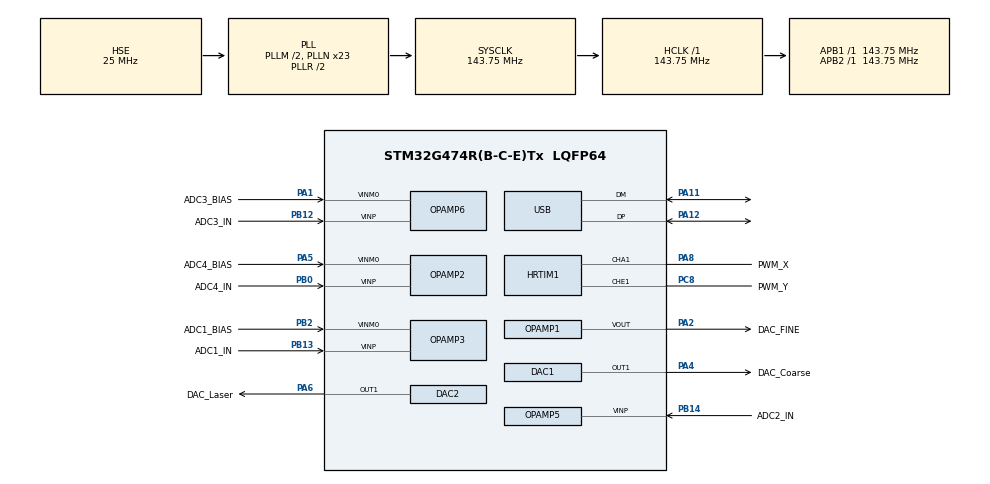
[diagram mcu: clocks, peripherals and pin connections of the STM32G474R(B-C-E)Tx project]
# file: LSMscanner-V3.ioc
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ADC2.Channel-1\#ChannelRegularConversion=ADC_CHANNEL_VOPAMP2
ADC2.NbrOfConversionFlag=1
ADC2.OffsetNumber-1\#ChannelRegularConversion=ADC_OFFSET_NONE
ADC2.OversamplingMode=DISABLE
ADC2.Rank-1\#ChannelRegularConversion=1
ADC2.SamplingTime-1\#ChannelRegularConversion=ADC_SAMPLETIME_2CYCLES_5
ADC3.Channel-0\#ChannelRegularConversion=ADC_CHANNEL_VOPAMP3_ADC3
ADC3.NbrOfConversionFlag=1
ADC3.OffsetNumber-0\#ChannelRegularConversion=ADC_OFFSET_NONE
ADC3.OversamplingMode=DISABLE
ADC3.Rank-0\#ChannelRegularConversion=1
ADC3.SamplingTime-0\#ChannelRegularConversion=ADC_SAMPLETIME_2CYCLES_5
ADC3.master=1
ADC4.Channel-0\#ChannelRegularConversion=ADC_CHANNEL_VOPAMP6
ADC4.NbrOfConversionFlag=1
ADC4.OffsetNumber-0\#ChannelRegularConversion=ADC_OFFSET_NONE
ADC4.OversamplingMode=DISABLE
ADC4.Rank-0\#ChannelRegularConversion=1
ADC4.SamplingTime-0\#ChannelRegularConversion=ADC_SAMPLETIME_2CYCLES_5
ADC5.Channel-0\#ChannelRegularConversion=ADC_CHANNEL_VOPAMP5
ADC5.NbrOfConversionFlag=1
ADC5.OffsetNumber-0\#ChannelRegularConversion=ADC_OFFSET_NONE
ADC5.OversamplingMode=DISABLE
ADC5.Rank-0\#ChannelRegularConversion=1
ADC5.SamplingTime-0\#ChannelRegularConversion=ADC_SAMPLETIME_2CYCLES_5
DAC2.DAC_HighFrequency_OUT1-DAC_OUT1=DAC_HIGH_FREQUENCY_INTERFACE_MODE_AUTOMATIC
HRTIM1.Configuration_TA=Simple
HRTIM1.Configuration_TE=Simple
HRTIM1.PWMChannel_TA1=HRTIM_OUTPUT_TA1
HRTIM1.PWMChannel_TE1=HRTIM_OUTPUT_TE1
Mcu.Family=STM32G4
Mcu.Name=STM32G474R(B-C-E)Tx
Mcu.Package=LQFP64
NVIC.PriorityGroup=NVIC_PRIORITYGROUP_4
NVIC.USB_LP_IRQn=true\:0\:0\:false\:false\:true\:false\:true\:true
OPAMP3.PgaGain=OPAMP_PGA_GAIN_2_OR_MINUS_1
PA1.GPIO_Label=ADC3_BIAS
PA1.Mode=PGA Internally connected_IO0_BIAS
PA1.Signal=OPAMP6_VINM0
PA11.Mode=Device
PA11.Signal=USB_DM
PA12.Mode=Device
PA12.Signal=USB_DP
PA13.GPIO_Label=SWDIO
PA13.Mode=Serial_Wire
PA13.Signal=SYS_JTMS-SWDIO
PA14.GPIO_Label=SWCLK
PA14.Mode=Serial_Wire
PA14.Signal=SYS_JTCK-SWCLK
PA2.GPIO_Label=DAC_FINE
PA2.Mode=Follower-DAC_OUT2-INP
PA2.Signal=OPAMP1_VOUT
PA4.GPIO_Label=DAC_Coarse
PA4.Signal=COMP_DAC11_group
PA5.GPIO_Label=ADC4_BIAS
PA5.Mode=PGA Internally connected_IO0_BIAS
PA5.Signal=OPAMP2_VINM0
PA6.GPIO_Label=DAC_Laser
PA6.Signal=COMP_DAC21_group
PA8.GPIO_Label=PWM_X
PA8.Mode=Output_TA1
PA8.Signal=HRTIM1_CHA1
PB0.GPIO_Label=ADC4_IN
PB0.Mode=PGA Internally connected_IO0_BIAS
PB0.Signal=OPAMP2_VINP
PB12.GPIO_Label=ADC3_IN
PB12.Mode=PGA Internally connected_IO0_BIAS
PB12.Signal=OPAMP6_VINP
PB13.GPIO_Label=ADC1_IN
PB13.Mode=PGA Internally connected_IO0_BIAS
PB13.Signal=OPAMP3_VINP
PB14.GPIO_Label=ADC2_IN
PB14.Mode=Follower_Internally_Connected
PB14.Signal=OPAMP5_VINP
PB2.GPIO_Label=ADC1_BIAS
PB2.Mode=PGA Internally connected_IO0_BIAS
PB2.Signal=OPAMP3_VINM0
PC8.GPIO_Label=PWM_Y
PC8.Mode=Output_TE1
PC8.Signal=HRTIM1_CHE1
PF0-OSC_IN.Mode=HSE-External-Oscillator
PF0-OSC_IN.Signal=RCC_OSC_IN
PF1-OSC_OUT.Mode=HSE-External-Oscillator
PF1-OSC_OUT.Signal=RCC_OSC_OUT
ProjectManager.HeapSize=0x200
ProjectManager.StackSize=0x400
ProjectManager.TargetToolchain=STM32CubeIDE
RCC.ADC12Freq_Value=143750000
RCC.ADC345Freq_Value=143750000
RCC.AHBFreq_Value=143750000
RCC.APB1Freq_Value=143750000
RCC.APB1TimFreq_Value=143750000
RCC.APB2Freq_Value=143750000
RCC.APB2TimFreq_Value=143750000
RCC.CortexFreq_Value=143750000
RCC.EXTERNAL_CLOCK_VALUE=12288000
RCC.HCLKFreq_Value=143750000
RCC.HSE_VALUE=25000000
RCC.HSI48_VALUE=48000000
RCC.HSI_VALUE=16000000
RCC.LSE_VALUE=32768
RCC.PLLM=RCC_PLLM_DIV2
RCC.PLLN=23
RCC.PLLQ=RCC_PLLQ_DIV6
RCC.PLLSourceVirtual=RCC_PLLSOURCE_HSE
RCC.SYSCLKFreq_VALUE=143750000
RCC.SYSCLKSource=RCC_SYSCLKSOURCE_PLLCLK
RCC.USBFreq_Value=47916666.666666664
RCC.VCOOutputFreq_Value=287500000
SH.COMP_DAC11_group.0=DAC1_OUT1,DAC_OUT1
SH.COMP_DAC21_group.0=DAC2_OUT1,DAC_OUT1
TIM4.Prescaler=143.75-1
USB_DEVICE.CLASS_NAME_FS=CDC
USB_DEVICE.VirtualMode=Cdc
USB_DEVICE.VirtualModeFS=Cdc_FS
VP_ADC2_OPAMP_INTERNAL2.Mode=IN-OPAMP2
VP_ADC3_OPAMP_INTERNAL3.Mode=IN-OPAMP3
VP_ADC4_OPAMP_INTERNAL6.Mode=IN-OPAMP6
VP_ADC5_OPAMP_INTERNAL5.Mode=IN-OPAMP5
VP_DAC3_VS_DACI1.Mode=DAC_OUT1_Int
VP_HRTIM1_VS_hrtimMasterTimerNoOutput.Mode=MasterTimer
VP_SYS_V_VREFBUF.Mode=ExternalMode
VP_TIM4_VS_ClockSourceINT.Mode=Internal
VP_USB_DEVICE_VS_USB_DEVICE_CDC_FS.Mode=CDC_FS
board=custom

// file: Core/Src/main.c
/* USER CODE BEGIN Header */
/**
  ******************************************************************************
  * @file           : main.c
  * @brief          : Main program body
  ******************************************************************************
  * @attention
  *
  * Copyright (c) 2023 STMicroelectronics.
  * All rights reserved.
  *
  * This software is licensed under terms that can be found in the LICENSE file
  * in the root directory of this software component.
  * If no LICENSE file comes with this software, it is provided AS-IS.
  *
  ******************************************************************************
  */
/* USER CODE END Header */
#include "main.h"
#include "usb_device.h"

/* USER CODE BEGIN Includes */
#include <string.h>
#include <stdbool.h>
#include <math.h>
#include <ctype.h>
#include "usbd_cdc_if.h"
#include<stdio.h>
#include<stdlib.h>
/* USER CODE END Includes */

ADC_HandleTypeDef hadc2;
ADC_HandleTypeDef hadc3;
ADC_HandleTypeDef hadc4;
ADC_HandleTypeDef hadc5;

DAC_HandleTypeDef hdac1;
DAC_HandleTypeDef hdac2;
DAC_HandleTypeDef hdac3;

HRTIM_HandleTypeDef hhrtim1;

OPAMP_HandleTypeDef hopamp1;
OPAMP_HandleTypeDef hopamp2;
OPAMP_HandleTypeDef hopamp3;
OPAMP_HandleTypeDef hopamp5;
OPAMP_HandleTypeDef hopamp6;

TIM_HandleTypeDef htim4;

/* USER CODE BEGIN PV */
//1 -> int between 1 and 65535
uint16_t xRes = 200;
//2 -> int between 1 and 65535
uint16_t yRes = 200;
//3 -> int between 1 and 65535
uint16_t skipSteps = 1;

//4 -> int between 0 and 65535
uint16_t xOffset = 32767;
//5 -> int between 0 and 65535
uint16_t yOffset = 32767;
//8 -> int between 1 and 20
uint8_t adcAvg = 8;

//7 -> int between 0 and 2500
uint16_t laserPower = 2100;

int pgaGain = OPAMP_PGA_GAIN_2_OR_MINUS_1;

int scanOffsetX = 0;
int scanOffsetY = 0;

int lastADC5Val = 0;

/* USER CODE END PV */

void SystemClock_Config(void);
static void MX_GPIO_Init(void);
static void MX_ADC3_Init(void);
static void MX_ADC5_Init(void);
static void MX_DAC1_Init(void);
static void MX_DAC2_Init(void);
static void MX_DAC3_Init(void);
static void MX_HRTIM1_Init(void);
static void MX_OPAMP1_Init(void);
static void MX_OPAMP2_Init(void);
static void MX_OPAMP3_Init(void);
static void MX_OPAMP5_Init(void);
static void MX_OPAMP6_Init(void);
static void MX_ADC2_Init(void);
static void MX_ADC4_Init(void);
static void MX_TIM4_Init(void);

/* USER CODE BEGIN 0 */

//microsecond delay (not used)
void delay(uint32_t us) {
	//from AN4776 page 10, 1.3.1
	if (us > 65535) { //a check to see if the scans asks for bad delays
		printf("A delay of %d is too long!", (int)us);
		us = 65535; //set to max
	}
	TIM4->ARR = us;
	TIM4->CNT = 0;
	TIM4->CR1 |= TIM_CR1_CEN; //enable timer
	while (TIM4->CNT < us)
		; //wait
	TIM4->CR1 &= ~TIM_CR1_CEN; //disable timer
}

//USB cdc transmit
//https://github.com/alexeykosinov/Redirect-printf-to-USB-VCP-on-STM32H7-MCU
int _write(int file, char *ptr, int len) {
	static uint8_t rc = USBD_OK;

	do {
		rc = CDC_Transmit_FS((unsigned char*) ptr, len);
	} while (USBD_BUSY == rc);

	if (USBD_FAIL == rc) {
		/// NOTE: Should never reach here.
		/// TODO: Handle this error.
		return 0;
	}
	return len;
}

//USB cdc receive
uint8_t buffer[64];
bool newReceived;

void adcStart() {
	HAL_ADC_Start(&hadc2); //OUT8
	HAL_ADC_Start(&hadc3); //OUT1
	HAL_ADC_Start(&hadc4); //OUT7
	HAL_ADC_Start(&hadc5); //OUT2 (HAS NOISE ISSUE)
	delay(1000);
}

void adcStop() {
	HAL_ADC_Stop(&hadc2);
	HAL_ADC_Stop(&hadc3);
	HAL_ADC_Stop(&hadc4);
	HAL_ADC_Stop(&hadc5);
	delay(1000);
}

//ADC
int PDICRead(uint8_t type) {
	adcStart();
//	int currentADC5Val = 0;
	int ADCValue = 0;
	if (type == 1) { //SUM
//		if (HAL_ADC_PollForConversion(&hadc5, 1000000) == HAL_OK) {
//			ADCValue = HAL_ADC_GetValue(&hadc5)*4;
////			if (currentADC5Val < lastADC5Val+100 && currentADC5Val > lastADC5Val-100) {
////				ADCValue = currentADC5Val*4;
////				lastADC5Val = currentADC5Val;
////			} else {
////				ADCValue = lastADC5Val*4;
////			}
//		} else {
//			ADCValue = 0;
//		}
		if (HAL_ADC_PollForConversion(&hadc2, 1000000) == HAL_OK) {
			ADCValue += HAL_ADC_GetValue(&hadc2); // *2 to make up for adc5
		}
		if (HAL_ADC_PollForConversion(&hadc3, 1000000) == HAL_OK) {
			ADCValue += HAL_ADC_GetValue(&hadc3);
		}
		if (HAL_ADC_PollForConversion(&hadc4, 1000000) == HAL_OK) {
			ADCValue += HAL_ADC_GetValue(&hadc4);
		}
		if (HAL_ADC_PollForConversion(&hadc5, 1000000) == HAL_OK) {
			ADCValue += HAL_ADC_GetValue(&hadc5);
		}
	} else if (type == 2) { //FES
		int diag1 = 0;
		int diag2 = 0;
		if (HAL_ADC_PollForConversion(&hadc3, 1000000) == HAL_OK) {
			diag1 += HAL_ADC_GetValue(&hadc3);
		}
		if (HAL_ADC_PollForConversion(&hadc4, 1000000) == HAL_OK) {
			diag1 += HAL_ADC_GetValue(&hadc4);
		}
		if (HAL_ADC_PollForConversion(&hadc2, 1000000) == HAL_OK) {
			diag2 += HAL_ADC_GetValue(&hadc2); // *2 to make up for adc5
		}
		if (HAL_ADC_PollForConversion(&hadc5, 1000000) == HAL_OK) {
			diag2 += HAL_ADC_GetValue(&hadc5);
		}
		ADCValue = diag1-diag2; //might be the reverse
	}
	adcStop();
	return ADCValue;
}

//parse usb serial input
uint16_t getNum() {
	uint16_t num = 0;
	for (int i = 1; i <= 4; i++) {
		if (isdigit(buffer[i])) { //only works if buffer isn't initialized with all zeros - shouldn't be
			num *= 10;
			num += buffer[i] - '0';
		}
	}
	return num;
}

//fine focus
void fineFocus() {
	int currentAdc;
	int16_t topAdc = -20000;
	int16_t bottomAdc = 20000;
	int16_t topDac = 0;
	int16_t bottomDac = 0;
	int16_t middleDac;
	int8_t precision = 2;

	//set offsets
	//htim3.Instance->CCR1 = xOffset;
	__HAL_HRTIM_SETCOMPARE(&hhrtim1, HRTIM_TIMERINDEX_TIMER_A, HRTIM_COMPAREUNIT_1, xOffset);
	HAL_HRTIM_SoftwareUpdate(&hhrtim1, HRTIM_TIMERUPDATE_A);
	//htim4.Instance->CCR1 = yOffset;
	__HAL_HRTIM_SETCOMPARE(&hhrtim1, HRTIM_TIMERINDEX_TIMER_E, HRTIM_COMPAREUNIT_1, yOffset);
	HAL_HRTIM_SoftwareUpdate(&hhrtim1, HRTIM_TIMERUPDATE_E);

	//set laser power
	DAC2->DHR12R1 = laserPower;

	//reset fine focus
	DAC3->DHR12R1 = 0;

	//delay to settle
	HAL_Delay(100);

	for (int i = 0; i < 4096; i += precision) {
		DAC3->DHR12R1 = i;
		//delay_us(1000);
		delay(3000);
		currentAdc = PDICRead(2);
		if (currentAdc < bottomAdc) {
			bottomAdc = currentAdc;
			bottomDac = i;
			//HAL_Delay(40);
		}

		delay(3000);
		printf("%d,%d\r\n", i, currentAdc); //print to see curve
	}
	printf("Done\r\n");

	HAL_Delay(100);

	for (int i = 0; i < 4096; i += precision) {
		DAC3->DHR12R1 = i;
		//delay_us(1000);
		delay(3000);
		currentAdc = PDICRead(2);
		if (currentAdc > topAdc && i > bottomDac) {
			topAdc = currentAdc;
			topDac = i;
			//HAL_Delay(40);
		}

		delay(3000);
		printf("%d,%d\r\n", i, currentAdc); //print to see curve
	}
	printf("Done\r\n");

	middleDac = ((topDac - bottomDac) / 2) + bottomDac;

	//temp offset
	middleDac += 40;

	for (int i = 0; i <= middleDac; i += precision) {
		DAC3->DHR12R1 = i;
		if (i <= 2) {
			HAL_Delay(200);
		} else { //don't need large timer if not resetting axis
			delay(2000);
		}
		currentAdc = PDICRead(2);
		printf("%d,%d\r\n", i, currentAdc);
		delay(1000);
	}

	HAL_Delay(300);
	printf("Done\r\n");
}

//coarse focus
void coarseFocus() {
	int sum = 0;
	uint16_t maxDac = 0;
	uint8_t precision = 1;
	uint16_t maxSum = 0;

	//set offsets
	//htim3.Instance->CCR1 = xOffset;
	__HAL_HRTIM_SETCOMPARE(&hhrtim1, HRTIM_TIMERINDEX_TIMER_A, HRTIM_COMPAREUNIT_1, xOffset);
	HAL_HRTIM_SoftwareUpdate(&hhrtim1, HRTIM_TIMERUPDATE_A);
	//htim4.Instance->CCR1 = yOffset;
	__HAL_HRTIM_SETCOMPARE(&hhrtim1, HRTIM_TIMERINDEX_TIMER_E, HRTIM_COMPAREUNIT_1, yOffset);
	HAL_HRTIM_SoftwareUpdate(&hhrtim1, HRTIM_TIMERUPDATE_E);

	//set laser power
	DAC2->DHR12R1 = laserPower;

	//set fine focus to close-to-center to avoid center instability and coarse to start
	DAC3->DHR12R1 = 2300;

	//reset coarse focus
	DAC1->DHR12R1 = 0;

	//delay to settle
	HAL_Delay(100);

	for (int i = 0; i < 4096; i += precision) {
		DAC1->DHR12R1 = i;
		delay(1000);
		sum = PDICRead(1);
		if (sum > maxSum) { //values get larger as light increases
			maxSum = sum;
			maxDac = i;
		}
		delay(1000);
		printf("%d,%d\r\n", i, sum); //print to see curve
	}
	printf("Done\r\n");

	// wind back to avoid dislodging sample
	for (int i = 4095; i >= 0; i -= precision) {
		DAC1->DHR12R1 = i;
		delay(200);
	}

	delay(2000);
	for (int i = 0; i <= maxDac; i += precision) {
		DAC1->DHR12R1 = i;
		delay(1000);
		printf("%d,%d\r\n", i, PDICRead(1));
		delay(1000);
	}

	HAL_Delay(300);
	printf("Done\r\n");
}

void fastScan() {

	int raw;

	//set offsets
	__HAL_HRTIM_SETCOMPARE(&hhrtim1, HRTIM_TIMERINDEX_TIMER_A, HRTIM_COMPAREUNIT_1, xOffset);
	HAL_HRTIM_SoftwareUpdate(&hhrtim1, HRTIM_TIMERUPDATE_A);
	__HAL_HRTIM_SETCOMPARE(&hhrtim1, HRTIM_TIMERINDEX_TIMER_E, HRTIM_COMPAREUNIT_1, yOffset);
	HAL_HRTIM_SoftwareUpdate(&hhrtim1, HRTIM_TIMERUPDATE_E);

	//set laser power
	DAC2->DHR12R1 = laserPower;

	for (int y = 0; y < yRes; y++) {

		if (y == 0) {
			__HAL_HRTIM_SETCOMPARE(&hhrtim1, HRTIM_TIMERINDEX_TIMER_E, HRTIM_COMPAREUNIT_1, (scanOffsetY + (yRes*skipSteps)/2.55));
			HAL_HRTIM_SoftwareUpdate(&hhrtim1, HRTIM_TIMERUPDATE_E);
			delay(8197); //half of 61hz, resonance frequency of SF-HD65
		}

		__HAL_HRTIM_SETCOMPARE(&hhrtim1, HRTIM_TIMERINDEX_TIMER_E, HRTIM_COMPAREUNIT_1, (scanOffsetY + (y * skipSteps)));
		HAL_HRTIM_SoftwareUpdate(&hhrtim1, HRTIM_TIMERUPDATE_E);

		for (int x = 0; x < xRes; x++) {
			raw = 0;

			//ringing compensation
			if (x == 0) {
				__HAL_HRTIM_SETCOMPARE(&hhrtim1, HRTIM_TIMERINDEX_TIMER_A, HRTIM_COMPAREUNIT_1, (scanOffsetX + (xRes*skipSteps)/2.35));
				HAL_HRTIM_SoftwareUpdate(&hhrtim1, HRTIM_TIMERUPDATE_A);
				delay(4095); //half of 61hz, resonance frequency of SF-HD65 - normally 8197
			}

			__HAL_HRTIM_SETCOMPARE(&hhrtim1, HRTIM_TIMERINDEX_TIMER_A, HRTIM_COMPAREUNIT_1, (scanOffsetX + (x * skipSteps)));
			HAL_HRTIM_SoftwareUpdate(&hhrtim1, HRTIM_TIMERUPDATE_A);

			if (x==1) {
				delay(4095);
			}

			raw = PDICRead(1);

			if (x + 1 == xRes) {
				printf("%d\r\n", raw);
			} else {
				printf("%d,", raw);
			}
		}

		//add delay later
	}
	printf("%d\r\n", 0);
}

/* USER CODE END 0 */

int main(void)
{

  /* MCU Configuration--------------------------------------------------------*/

  /* Reset of all peripherals, Initializes the Flash interface and the Systick. */
  HAL_Init();

  /* Configure the system clock */
  SystemClock_Config();

  /* Initialize all configured peripherals */
  MX_GPIO_Init();
  MX_ADC3_Init();
  MX_ADC5_Init();
  MX_DAC1_Init();
  MX_DAC2_Init();
  MX_DAC3_Init();
  MX_HRTIM1_Init();
  MX_OPAMP1_Init();
  MX_OPAMP2_Init();
  MX_OPAMP3_Init();
  MX_OPAMP5_Init();
  MX_OPAMP6_Init();
  MX_USB_Device_Init();
  MX_ADC2_Init();
  MX_ADC4_Init();
  MX_TIM4_Init();
  /* USER CODE BEGIN 2 */
  //DAC SETUP
  HAL_DAC_Start(&hdac1, DAC_CHANNEL_1);
  HAL_DAC_Start(&hdac2, DAC_CHANNEL_1);
  HAL_DAC_Start(&hdac3, DAC_CHANNEL_1);

  //ADC SETUP
  HAL_ADCEx_Calibration_Start(&hadc2, ADC_SINGLE_ENDED);
  HAL_ADCEx_Calibration_Start(&hadc3, ADC_SINGLE_ENDED);
  HAL_ADCEx_Calibration_Start(&hadc4, ADC_SINGLE_ENDED);
  HAL_ADCEx_Calibration_Start(&hadc5, ADC_SINGLE_ENDED);

  //OP-AMP SETUP
  HAL_OPAMP_Start(&hopamp1);
  HAL_OPAMP_Start(&hopamp2);
  HAL_OPAMP_Start(&hopamp3);
  HAL_OPAMP_Start(&hopamp5);
  HAL_OPAMP_Start(&hopamp6);

  //DELAY TIMER SETUP
  HAL_TIM_Base_Start(&htim4);

  //HRTIM SETUP
  HAL_HRTIM_SimplePWMStart(&hhrtim1, HRTIM_TIMERINDEX_TIMER_A, HRTIM_OUTPUT_TA1);
  HAL_HRTIM_SimplePWMStart(&hhrtim1, HRTIM_TIMERINDEX_TIMER_E, HRTIM_OUTPUT_TE1);

  /* USER CODE END 2 */

  /* Infinite loop */
  while (1)
    {

    /* USER CODE BEGIN 3 */
	    DAC2->DHR12R1 = 0;

		uint8_t adcGain = 1; //not sure I need this

		//buffer[0]
		uint8_t start;

		//value of following data after buffer[0]
		uint16_t num = 0;

		if (newReceived) {
			if (buffer[0] == '0') {
				start = 0;
			} else {
				start = buffer[0] - '0';
			}
			num = getNum();
			switch (start) {
			case 0:
				scanOffsetX = xOffset - (xRes * skipSteps / 2); // set focus to center of scanned image (make sure > 0)
				scanOffsetY = yOffset - (yRes * skipSteps / 2);
				if (num == 1) {
					fastScan();
				}
				break;
			case 1:
				if (num < 65536 && num > 0) {
					xRes = num;
				}
				break;
			case 2:
				if (num < 65536 && num > 0) {
					yRes = num;
				}
				break;
			case 3:
				if (num < 65536 && num > 0) {
					skipSteps = num;
				}
				break;
			case 4:
				if (num < 65536) {
					xOffset = num;
				}
				break;
			case 5:
				if (num < 65536) {
					yOffset = num;
				}
				break;
			case 6:
				if (num <= 5) {
					adcGain = num;
					HAL_OPAMP_Stop(&hopamp2);
					HAL_OPAMP_Stop(&hopamp3);
					HAL_OPAMP_Stop(&hopamp5);
					HAL_OPAMP_Stop(&hopamp6);
					switch (adcGain) {
					case 0:
						hopamp2.Init.PgaGain = OPAMP_PGA_GAIN_2_OR_MINUS_1;
						hopamp3.Init.PgaGain = OPAMP_PGA_GAIN_2_OR_MINUS_1;
						hopamp5.Init.PgaGain = OPAMP_PGA_GAIN_2_OR_MINUS_1;
						hopamp6.Init.PgaGain = OPAMP_PGA_GAIN_2_OR_MINUS_1;
						break;
					case 1:
						hopamp2.Init.PgaGain = OPAMP_PGA_GAIN_4_OR_MINUS_3;
						hopamp3.Init.PgaGain = OPAMP_PGA_GAIN_4_OR_MINUS_3;
						hopamp5.Init.PgaGain = OPAMP_PGA_GAIN_4_OR_MINUS_3;
						hopamp6.Init.PgaGain = OPAMP_PGA_GAIN_4_OR_MINUS_3;
						break;
					case 2:
						hopamp2.Init.PgaGain = OPAMP_PGA_GAIN_8_OR_MINUS_7;
						hopamp3.Init.PgaGain = OPAMP_PGA_GAIN_8_OR_MINUS_7;
						hopamp5.Init.PgaGain = OPAMP_PGA_GAIN_8_OR_MINUS_7;
						hopamp6.Init.PgaGain = OPAMP_PGA_GAIN_8_OR_MINUS_7;
						break;
					case 3:
						hopamp2.Init.PgaGain = OPAMP_PGA_GAIN_16_OR_MINUS_15;
						hopamp3.Init.PgaGain = OPAMP_PGA_GAIN_16_OR_MINUS_15;
						hopamp5.Init.PgaGain = OPAMP_PGA_GAIN_16_OR_MINUS_15;
						hopamp6.Init.PgaGain = OPAMP_PGA_GAIN_16_OR_MINUS_15;
						break;
					case 4:
						hopamp2.Init.PgaGain = OPAMP_PGA_GAIN_32_OR_MINUS_31;
						hopamp3.Init.PgaGain = OPAMP_PGA_GAIN_32_OR_MINUS_31;
						hopamp5.Init.PgaGain = OPAMP_PGA_GAIN_32_OR_MINUS_31;
						hopamp6.Init.PgaGain = OPAMP_PGA_GAIN_32_OR_MINUS_31;
						break;
					case 5:
						hopamp2.Init.PgaGain = OPAMP_PGA_GAIN_64_OR_MINUS_63;
						hopamp3.Init.PgaGain = OPAMP_PGA_GAIN_64_OR_MINUS_63;
						hopamp5.Init.PgaGain = OPAMP_PGA_GAIN_64_OR_MINUS_63;
						hopamp6.Init.PgaGain = OPAMP_PGA_GAIN_64_OR_MINUS_63;
						break;
					}
					HAL_Delay(2);
					if (HAL_OPAMP_Init(&hopamp2) != HAL_OK)
					{
						Error_Handler();
					}
					if (HAL_OPAMP_Init(&hopamp3) != HAL_OK)
					{
						Error_Handler();
					}
					if (HAL_OPAMP_Init(&hopamp5) != HAL_OK)
					{
						Error_Handler();
					}
					if (HAL_OPAMP_Init(&hopamp6) != HAL_OK)
					{
						Error_Handler();
					}
					HAL_Delay(2);
					HAL_OPAMP_Start(&hopamp2);
					HAL_OPAMP_Start(&hopamp3);
					HAL_OPAMP_Start(&hopamp5);
					HAL_OPAMP_Start(&hopamp6);
				}
				break;
			case 7:
				if (num <= 3000) {
					laserPower = num;
				}
				break;
			case 8:
				if (num <= 20 && num != 0) {
					adcAvg = num;
				}
				break;
			case 9:
				if (num == 1) {
					fineFocus();
				} else if (num == 2) {
					coarseFocus();
				} else {
					printf("Bad input\r\n");
				}
				break;
			}

			newReceived = false;
		}
		HAL_Delay(10); //10ms polling delay
    }
  /* USER CODE END 3 */
}

void SystemClock_Config(void)
{
  RCC_OscInitTypeDef RCC_OscInitStruct = {0};
  RCC_ClkInitTypeDef RCC_ClkInitStruct = {0};

  /** Configure the main internal regulator output voltage
  */
  HAL_PWREx_ControlVoltageScaling(PWR_REGULATOR_VOLTAGE_SCALE1);

  /** Initializes the RCC Oscillators according to the specified parameters
  * in the RCC_OscInitTypeDef structure.
  */
  RCC_OscInitStruct.OscillatorType = RCC_OSCILLATORTYPE_HSE;
  RCC_OscInitStruct.HSEState = RCC_HSE_ON;
  RCC_OscInitStruct.PLL.PLLState = RCC_PLL_ON;
  RCC_OscInitStruct.PLL.PLLSource = RCC_PLLSOURCE_HSE;
  RCC_OscInitStruct.PLL.PLLM = RCC_PLLM_DIV2;
  RCC_OscInitStruct.PLL.PLLN = 23;
  RCC_OscInitStruct.PLL.PLLP = RCC_PLLP_DIV2;
  RCC_OscInitStruct.PLL.PLLQ = RCC_PLLQ_DIV6;
  RCC_OscInitStruct.PLL.PLLR = RCC_PLLR_DIV2;
  if (HAL_RCC_OscConfig(&RCC_OscInitStruct) != HAL_OK)
  {
    Error_Handler();
  }

  /** Initializes the CPU, AHB and APB buses clocks
  */
  RCC_ClkInitStruct.ClockType = RCC_CLOCKTYPE_HCLK|RCC_CLOCKTYPE_SYSCLK
                              |RCC_CLOCKTYPE_PCLK1|RCC_CLOCKTYPE_PCLK2;
  RCC_ClkInitStruct.SYSCLKSource = RCC_SYSCLKSOURCE_PLLCLK;
  RCC_ClkInitStruct.AHBCLKDivider = RCC_SYSCLK_DIV1;
  RCC_ClkInitStruct.APB1CLKDivider = RCC_HCLK_DIV1;
  RCC_ClkInitStruct.APB2CLKDivider = RCC_HCLK_DIV1;

  if (HAL_RCC_ClockConfig(&RCC_ClkInitStruct, FLASH_LATENCY_4) != HAL_OK)
  {
    Error_Handler();
  }
}

static void MX_ADC2_Init(void)
{

  ADC_ChannelConfTypeDef sConfig = {0};

  /** Common config
  */
  hadc2.Instance = ADC2;
  hadc2.Init.ClockPrescaler = ADC_CLOCK_SYNC_PCLK_DIV4;
  hadc2.Init.Resolution = ADC_RESOLUTION_12B;
  hadc2.Init.DataAlign = ADC_DATAALIGN_RIGHT;
  hadc2.Init.GainCompensation = 0;
  hadc2.Init.ScanConvMode = ADC_SCAN_DISABLE;
  hadc2.Init.EOCSelection = ADC_EOC_SINGLE_CONV;
  hadc2.Init.LowPowerAutoWait = DISABLE;
  hadc2.Init.ContinuousConvMode = DISABLE;
  hadc2.Init.NbrOfConversion = 1;
  hadc2.Init.DiscontinuousConvMode = DISABLE;
  hadc2.Init.ExternalTrigConv = ADC_SOFTWARE_START;
  hadc2.Init.ExternalTrigConvEdge = ADC_EXTERNALTRIGCONVEDGE_NONE;
  hadc2.Init.DMAContinuousRequests = DISABLE;
  hadc2.Init.Overrun = ADC_OVR_DATA_PRESERVED;
  hadc2.Init.OversamplingMode = DISABLE;
  if (HAL_ADC_Init(&hadc2) != HAL_OK)
  {
    Error_Handler();
  }

  /** Configure Regular Channel
  */
  sConfig.Channel = ADC_CHANNEL_VOPAMP2;
  sConfig.Rank = ADC_REGULAR_RANK_1;
  sConfig.SamplingTime = ADC_SAMPLETIME_2CYCLES_5;
  sConfig.SingleDiff = ADC_SINGLE_ENDED;
  sConfig.OffsetNumber = ADC_OFFSET_NONE;
  sConfig.Offset = 0;
  if (HAL_ADC_ConfigChannel(&hadc2, &sConfig) != HAL_OK)
  {
    Error_Handler();
  }

}

static void MX_ADC3_Init(void)
{

  ADC_MultiModeTypeDef multimode = {0};
  ADC_ChannelConfTypeDef sConfig = {0};

  /** Common config
  */
  hadc3.Instance = ADC3;
  hadc3.Init.ClockPrescaler = ADC_CLOCK_SYNC_PCLK_DIV4;
  hadc3.Init.Resolution = ADC_RESOLUTION_12B;
  hadc3.Init.DataAlign = ADC_DATAALIGN_RIGHT;
  hadc3.Init.GainCompensation = 0;
  hadc3.Init.ScanConvMode = ADC_SCAN_DISABLE;
  hadc3.Init.EOCSelection = ADC_EOC_SINGLE_CONV;
  hadc3.Init.LowPowerAutoWait = DISABLE;
  hadc3.Init.ContinuousConvMode = DISABLE;
  hadc3.Init.NbrOfConversion = 1;
  hadc3.Init.DiscontinuousConvMode = DISABLE;
  hadc3.Init.ExternalTrigConv = ADC_SOFTWARE_START;
  hadc3.Init.ExternalTrigConvEdge = ADC_EXTERNALTRIGCONVEDGE_NONE;
  hadc3.Init.DMAContinuousRequests = DISABLE;
  hadc3.Init.Overrun = ADC_OVR_DATA_PRESERVED;
  hadc3.Init.OversamplingMode = DISABLE;
  if (HAL_ADC_Init(&hadc3) != HAL_OK)
  {
    Error_Handler();
  }

  /** Configure the ADC multi-mode
  */
  multimode.Mode = ADC_MODE_INDEPENDENT;
  if (HAL_ADCEx_MultiModeConfigChannel(&hadc3, &multimode) != HAL_OK)
  {
    Error_Handler();
  }

  /** Configure Regular Channel
  */
  sConfig.Channel = ADC_CHANNEL_VOPAMP3_ADC3;
  sConfig.Rank = ADC_REGULAR_RANK_1;
  sConfig.SamplingTime = ADC_SAMPLETIME_2CYCLES_5;
  sConfig.SingleDiff = ADC_SINGLE_ENDED;
  sConfig.OffsetNumber = ADC_OFFSET_NONE;
  sConfig.Offset = 0;
  if (HAL_ADC_ConfigChannel(&hadc3, &sConfig) != HAL_OK)
  {
    Error_Handler();
  }

}

static void MX_ADC4_Init(void)
{

  ADC_ChannelConfTypeDef sConfig = {0};

  /** Common config
  */
  hadc4.Instance = ADC4;
  hadc4.Init.ClockPrescaler = ADC_CLOCK_SYNC_PCLK_DIV4;
  hadc4.Init.Resolution = ADC_RESOLUTION_12B;
  hadc4.Init.DataAlign = ADC_DATAALIGN_RIGHT;
  hadc4.Init.GainCompensation = 0;
  hadc4.Init.ScanConvMode = ADC_SCAN_DISABLE;
  hadc4.Init.EOCSelection = ADC_EOC_SINGLE_CONV;
  hadc4.Init.LowPowerAutoWait = DISABLE;
  hadc4.Init.ContinuousConvMode = DISABLE;
  hadc4.Init.NbrOfConversion = 1;
  hadc4.Init.DiscontinuousConvMode = DISABLE;
  hadc4.Init.ExternalTrigConv = ADC_SOFTWARE_START;
  hadc4.Init.ExternalTrigConvEdge = ADC_EXTERNALTRIGCONVEDGE_NONE;
  hadc4.Init.DMAContinuousRequests = DISABLE;
  hadc4.Init.Overrun = ADC_OVR_DATA_PRESERVED;
  hadc4.Init.OversamplingMode = DISABLE;
  if (HAL_ADC_Init(&hadc4) != HAL_OK)
  {
    Error_Handler();
  }

  /** Configure Regular Channel
  */
  sConfig.Channel = ADC_CHANNEL_VOPAMP6;
  sConfig.Rank = ADC_REGULAR_RANK_1;
  sConfig.SamplingTime = ADC_SAMPLETIME_2CYCLES_5;
  sConfig.SingleDiff = ADC_SINGLE_ENDED;
  sConfig.OffsetNumber = ADC_OFFSET_NONE;
  sConfig.Offset = 0;
  if (HAL_ADC_ConfigChannel(&hadc4, &sConfig) != HAL_OK)
  {
    Error_Handler();
  }

}

static void MX_ADC5_Init(void)
{

  ADC_ChannelConfTypeDef sConfig = {0};

  /** Common config
  */
  hadc5.Instance = ADC5;
  hadc5.Init.ClockPrescaler = ADC_CLOCK_SYNC_PCLK_DIV4;
  hadc5.Init.Resolution = ADC_RESOLUTION_12B;
  hadc5.Init.DataAlign = ADC_DATAALIGN_RIGHT;
  hadc5.Init.GainCompensation = 0;
  hadc5.Init.ScanConvMode = ADC_SCAN_DISABLE;
  hadc5.Init.EOCSelection = ADC_EOC_SINGLE_CONV;
  hadc5.Init.LowPowerAutoWait = DISABLE;
  hadc5.Init.ContinuousConvMode = DISABLE;
  hadc5.Init.NbrOfConversion = 1;
  hadc5.Init.DiscontinuousConvMode = DISABLE;
  hadc5.Init.ExternalTrigConv = ADC_SOFTWARE_START;
  hadc5.Init.ExternalTrigConvEdge = ADC_EXTERNALTRIGCONVEDGE_NONE;
  hadc5.Init.DMAContinuousRequests = DISABLE;
  hadc5.Init.Overrun = ADC_OVR_DATA_PRESERVED;
  hadc5.Init.OversamplingMode = DISABLE;
  if (HAL_ADC_Init(&hadc5) != HAL_OK)
  {
    Error_Handler();
  }

  /** Configure Regular Channel
  */
  sConfig.Channel = ADC_CHANNEL_VOPAMP5;
  sConfig.Rank = ADC_REGULAR_RANK_1;
  sConfig.SamplingTime = ADC_SAMPLETIME_2CYCLES_5;
  sConfig.SingleDiff = ADC_SINGLE_ENDED;
  sConfig.OffsetNumber = ADC_OFFSET_NONE;
  sConfig.Offset = 0;
  if (HAL_ADC_ConfigChannel(&hadc5, &sConfig) != HAL_OK)
  {
    Error_Handler();
  }

}

static void MX_DAC1_Init(void)
{

  DAC_ChannelConfTypeDef sConfig = {0};

  /** DAC Initialization
  */
  hdac1.Instance = DAC1;
  if (HAL_DAC_Init(&hdac1) != HAL_OK)
  {
    Error_Handler();
  }

  /** DAC channel OUT1 config
  */
  sConfig.DAC_HighFrequency = DAC_HIGH_FREQUENCY_INTERFACE_MODE_AUTOMATIC;
  sConfig.DAC_DMADoubleDataMode = DISABLE;
  sConfig.DAC_SignedFormat = DISABLE;
  sConfig.DAC_SampleAndHold = DAC_SAMPLEANDHOLD_DISABLE;
  sConfig.DAC_Trigger = DAC_TRIGGER_NONE;
  sConfig.DAC_Trigger2 = DAC_TRIGGER_NONE;
  sConfig.DAC_OutputBuffer = DAC_OUTPUTBUFFER_ENABLE;
  sConfig.DAC_ConnectOnChipPeripheral = DAC_CHIPCONNECT_EXTERNAL;
  sConfig.DAC_UserTrimming = DAC_TRIMMING_FACTORY;
  if (HAL_DAC_ConfigChannel(&hdac1, &sConfig, DAC_CHANNEL_1) != HAL_OK)
  {
    Error_Handler();
  }

}

static void MX_DAC2_Init(void)
{

  DAC_ChannelConfTypeDef sConfig = {0};

  /** DAC Initialization
  */
  hdac2.Instance = DAC2;
  if (HAL_DAC_Init(&hdac2) != HAL_OK)
  {
    Error_Handler();
  }

  /** DAC channel OUT1 config
  */
  sConfig.DAC_HighFrequency = DAC_HIGH_FREQUENCY_INTERFACE_MODE_AUTOMATIC;
  sConfig.DAC_DMADoubleDataMode = DISABLE;
  sConfig.DAC_SignedFormat = DISABLE;
  sConfig.DAC_SampleAndHold = DAC_SAMPLEANDHOLD_DISABLE;
  sConfig.DAC_Trigger = DAC_TRIGGER_NONE;
  sConfig.DAC_Trigger2 = DAC_TRIGGER_NONE;
  sConfig.DAC_OutputBuffer = DAC_OUTPUTBUFFER_ENABLE;
  sConfig.DAC_ConnectOnChipPeripheral = DAC_CHIPCONNECT_EXTERNAL;
  sConfig.DAC_UserTrimming = DAC_TRIMMING_FACTORY;
  if (HAL_DAC_ConfigChannel(&hdac2, &sConfig, DAC_CHANNEL_1) != HAL_OK)
  {
    Error_Handler();
  }

}

static void MX_DAC3_Init(void)
{

  DAC_ChannelConfTypeDef sConfig = {0};

  /** DAC Initialization
  */
  hdac3.Instance = DAC3;
  if (HAL_DAC_Init(&hdac3) != HAL_OK)
  {
    Error_Handler();
  }

  /** DAC channel OUT1 config
  */
  sConfig.DAC_HighFrequency = DAC_HIGH_FREQUENCY_INTERFACE_MODE_AUTOMATIC;
  sConfig.DAC_DMADoubleDataMode = DISABLE;
  sConfig.DAC_SignedFormat = DISABLE;
  sConfig.DAC_SampleAndHold = DAC_SAMPLEANDHOLD_DISABLE;
  sConfig.DAC_Trigger = DAC_TRIGGER_NONE;
  sConfig.DAC_Trigger2 = DAC_TRIGGER_NONE;
  sConfig.DAC_OutputBuffer = DAC_OUTPUTBUFFER_DISABLE;
  sConfig.DAC_ConnectOnChipPeripheral = DAC_CHIPCONNECT_INTERNAL;
  sConfig.DAC_UserTrimming = DAC_TRIMMING_FACTORY;
  if (HAL_DAC_ConfigChannel(&hdac3, &sConfig, DAC_CHANNEL_1) != HAL_OK)
  {
    Error_Handler();
  }

}

static void MX_HRTIM1_Init(void)
{

  HRTIM_TimeBaseCfgTypeDef pTimeBaseCfg = {0};
  HRTIM_TimerCfgTypeDef pTimerCfg = {0};
  HRTIM_TimerCtlTypeDef pTimerCtl = {0};
  HRTIM_SimplePWMChannelCfgTypeDef pSimplePWMChannelCfg = {0};

  hhrtim1.Instance = HRTIM1;
  hhrtim1.Init.HRTIMInterruptResquests = HRTIM_IT_NONE;
  hhrtim1.Init.SyncOptions = HRTIM_SYNCOPTION_NONE;
  if (HAL_HRTIM_Init(&hhrtim1) != HAL_OK)
  {
    Error_Handler();
  }
  if (HAL_HRTIM_DLLCalibrationStart(&hhrtim1, HRTIM_CALIBRATIONRATE_3) != HAL_OK)
  {
    Error_Handler();
  }
  if (HAL_HRTIM_PollForDLLCalibration(&hhrtim1, 10) != HAL_OK)
  {
    Error_Handler();
  }
  pTimeBaseCfg.Period = 0xFFDF;
  pTimeBaseCfg.RepetitionCounter = 0x00;
  pTimeBaseCfg.PrescalerRatio = HRTIM_PRESCALERRATIO_MUL32;
  pTimeBaseCfg.Mode = HRTIM_MODE_CONTINUOUS;
  if (HAL_HRTIM_TimeBaseConfig(&hhrtim1, HRTIM_TIMERINDEX_MASTER, &pTimeBaseCfg) != HAL_OK)
  {
    Error_Handler();
  }
  pTimerCfg.InterruptRequests = HRTIM_MASTER_IT_NONE;
  pTimerCfg.DMARequests = HRTIM_MASTER_DMA_NONE;
  pTimerCfg.DMASrcAddress = 0x0000;
  pTimerCfg.DMADstAddress = 0x0000;
  pTimerCfg.DMASize = 0x1;
  pTimerCfg.HalfModeEnable = HRTIM_HALFMODE_DISABLED;
  pTimerCfg.InterleavedMode = HRTIM_INTERLEAVED_MODE_DISABLED;
  pTimerCfg.StartOnSync = HRTIM_SYNCSTART_DISABLED;
  pTimerCfg.ResetOnSync = HRTIM_SYNCRESET_DISABLED;
  pTimerCfg.DACSynchro = HRTIM_DACSYNC_NONE;
  pTimerCfg.PreloadEnable = HRTIM_PRELOAD_DISABLED;
  pTimerCfg.UpdateGating = HRTIM_UPDATEGATING_INDEPENDENT;
  pTimerCfg.BurstMode = HRTIM_TIMERBURSTMODE_MAINTAINCLOCK;
  pTimerCfg.RepetitionUpdate = HRTIM_UPDATEONREPETITION_DISABLED;
  pTimerCfg.ReSyncUpdate = HRTIM_TIMERESYNC_UPDATE_UNCONDITIONAL;

  if (HAL_HRTIM_WaveformTimerConfig(&hhrtim1, HRTIM_TIMERINDEX_MASTER, &pTimerCfg) != HAL_OK)
  {
    Error_Handler();
  }
  if (HAL_HRTIM_TimeBaseConfig(&hhrtim1, HRTIM_TIMERINDEX_TIMER_A, &pTimeBaseCfg) != HAL_OK)
  {
    Error_Handler();
  }
  pTimerCtl.UpDownMode = HRTIM_TIMERUPDOWNMODE_UP;
  pTimerCtl.DualChannelDacEnable = HRTIM_TIMER_DCDE_DISABLED;

  if (HAL_HRTIM_WaveformTimerControl(&hhrtim1, HRTIM_TIMERINDEX_TIMER_A, &pTimerCtl) != HAL_OK)
  {
    Error_Handler();
  }
  pSimplePWMChannelCfg.Pulse = 0xFFDF;
  pSimplePWMChannelCfg.Polarity = HRTIM_OUTPUTPOLARITY_HIGH;
  pSimplePWMChannelCfg.IdleLevel = HRTIM_OUTPUTIDLELEVEL_INACTIVE;
  if (HAL_HRTIM_SimplePWMChannelConfig(&hhrtim1, HRTIM_TIMERINDEX_TIMER_A, HRTIM_OUTPUT_TA1, &pSimplePWMChannelCfg) != HAL_OK)
  {
    Error_Handler();
  }
  if (HAL_HRTIM_TimeBaseConfig(&hhrtim1, HRTIM_TIMERINDEX_TIMER_E, &pTimeBaseCfg) != HAL_OK)
  {
    Error_Handler();
  }

  if (HAL_HRTIM_WaveformTimerControl(&hhrtim1, HRTIM_TIMERINDEX_TIMER_E, &pTimerCtl) != HAL_OK)
  {
    Error_Handler();
  }
  if (HAL_HRTIM_SimplePWMChannelConfig(&hhrtim1, HRTIM_TIMERINDEX_TIMER_E, HRTIM_OUTPUT_TE1, &pSimplePWMChannelCfg) != HAL_OK)
  {
    Error_Handler();
  }
  HAL_HRTIM_MspPostInit(&hhrtim1);

}

static void MX_OPAMP1_Init(void)
{

  hopamp1.Instance = OPAMP1;
  hopamp1.Init.PowerMode = OPAMP_POWERMODE_NORMALSPEED;
  hopamp1.Init.Mode = OPAMP_FOLLOWER_MODE;
  hopamp1.Init.NonInvertingInput = OPAMP_NONINVERTINGINPUT_DAC;
  hopamp1.Init.InternalOutput = DISABLE;
  hopamp1.Init.TimerControlledMuxmode = OPAMP_TIMERCONTROLLEDMUXMODE_DISABLE;
  hopamp1.Init.UserTrimming = OPAMP_TRIMMING_FACTORY;
  if (HAL_OPAMP_Init(&hopamp1) != HAL_OK)
  {
    Error_Handler();
  }

}

static void MX_OPAMP2_Init(void)
{

  hopamp2.Instance = OPAMP2;
  hopamp2.Init.PowerMode = OPAMP_POWERMODE_NORMALSPEED;
  hopamp2.Init.Mode = OPAMP_PGA_MODE;
  hopamp2.Init.NonInvertingInput = OPAMP_NONINVERTINGINPUT_IO2;
  hopamp2.Init.InternalOutput = ENABLE;
  hopamp2.Init.TimerControlledMuxmode = OPAMP_TIMERCONTROLLEDMUXMODE_DISABLE;
  hopamp2.Init.PgaConnect = OPAMP_PGA_CONNECT_INVERTINGINPUT_IO0_BIAS;
  hopamp2.Init.PgaGain = OPAMP_PGA_GAIN_2_OR_MINUS_1;
  hopamp2.Init.UserTrimming = OPAMP_TRIMMING_FACTORY;
  if (HAL_OPAMP_Init(&hopamp2) != HAL_OK)
  {
    Error_Handler();
  }

}

static void MX_OPAMP3_Init(void)
{

  hopamp3.Instance = OPAMP3;
  hopamp3.Init.PowerMode = OPAMP_POWERMODE_NORMALSPEED;
  hopamp3.Init.Mode = OPAMP_PGA_MODE;
  hopamp3.Init.NonInvertingInput = OPAMP_NONINVERTINGINPUT_IO1;
  hopamp3.Init.InternalOutput = ENABLE;
  hopamp3.Init.TimerControlledMuxmode = OPAMP_TIMERCONTROLLEDMUXMODE_DISABLE;
  hopamp3.Init.PgaConnect = OPAMP_PGA_CONNECT_INVERTINGINPUT_IO0_BIAS;
  hopamp3.Init.PgaGain = OPAMP_PGA_GAIN_2_OR_MINUS_1;
  hopamp3.Init.UserTrimming = OPAMP_TRIMMING_FACTORY;
  if (HAL_OPAMP_Init(&hopamp3) != HAL_OK)
  {
    Error_Handler();
  }

}

static void MX_OPAMP5_Init(void)
{

  hopamp5.Instance = OPAMP5;
  hopamp5.Init.PowerMode = OPAMP_POWERMODE_NORMALSPEED;
  hopamp5.Init.Mode = OPAMP_FOLLOWER_MODE;
  hopamp5.Init.NonInvertingInput = OPAMP_NONINVERTINGINPUT_IO0;
  hopamp5.Init.InternalOutput = ENABLE;
  hopamp5.Init.TimerControlledMuxmode = OPAMP_TIMERCONTROLLEDMUXMODE_DISABLE;
  hopamp5.Init.UserTrimming = OPAMP_TRIMMING_FACTORY;
  if (HAL_OPAMP_Init(&hopamp5) != HAL_OK)
  {
    Error_Handler();
  }

}

static void MX_OPAMP6_Init(void)
{

  hopamp6.Instance = OPAMP6;
  hopamp6.Init.PowerMode = OPAMP_POWERMODE_NORMALSPEED;
  hopamp6.Init.Mode = OPAMP_PGA_MODE;
  hopamp6.Init.NonInvertingInput = OPAMP_NONINVERTINGINPUT_IO0;
  hopamp6.Init.InternalOutput = ENABLE;
  hopamp6.Init.TimerControlledMuxmode = OPAMP_TIMERCONTROLLEDMUXMODE_DISABLE;
  hopamp6.Init.PgaConnect = OPAMP_PGA_CONNECT_INVERTINGINPUT_IO0_BIAS;
  hopamp6.Init.PgaGain = OPAMP_PGA_GAIN_2_OR_MINUS_1;
  hopamp6.Init.UserTrimming = OPAMP_TRIMMING_FACTORY;
  if (HAL_OPAMP_Init(&hopamp6) != HAL_OK)
  {
    Error_Handler();
  }

}

static void MX_TIM4_Init(void)
{

  TIM_ClockConfigTypeDef sClockSourceConfig = {0};
  TIM_MasterConfigTypeDef sMasterConfig = {0};

  htim4.Instance = TIM4;
  htim4.Init.Prescaler = 143.75-1;
  htim4.Init.CounterMode = TIM_COUNTERMODE_UP;
  htim4.Init.Period = 65535;
  htim4.Init.ClockDivision = TIM_CLOCKDIVISION_DIV1;
  htim4.Init.AutoReloadPreload = TIM_AUTORELOAD_PRELOAD_DISABLE;
  if (HAL_TIM_Base_Init(&htim4) != HAL_OK)
  {
    Error_Handler();
  }
  sClockSourceConfig.ClockSource = TIM_CLOCKSOURCE_INTERNAL;
  if (HAL_TIM_ConfigClockSource(&htim4, &sClockSourceConfig) != HAL_OK)
  {
    Error_Handler();
  }
  sMasterConfig.MasterOutputTrigger = TIM_TRGO_RESET;
  sMasterConfig.MasterSlaveMode = TIM_MASTERSLAVEMODE_DISABLE;
  if (HAL_TIMEx_MasterConfigSynchronization(&htim4, &sMasterConfig) != HAL_OK)
  {
    Error_Handler();
  }

}

static void MX_GPIO_Init(void)
{

  /* GPIO Ports Clock Enable */
  __HAL_RCC_GPIOF_CLK_ENABLE();
  __HAL_RCC_GPIOA_CLK_ENABLE();
  __HAL_RCC_GPIOB_CLK_ENABLE();
  __HAL_RCC_GPIOC_CLK_ENABLE();

}

void Error_Handler(void)
{
  __disable_irq();
  while (1)
  {
  }
}
